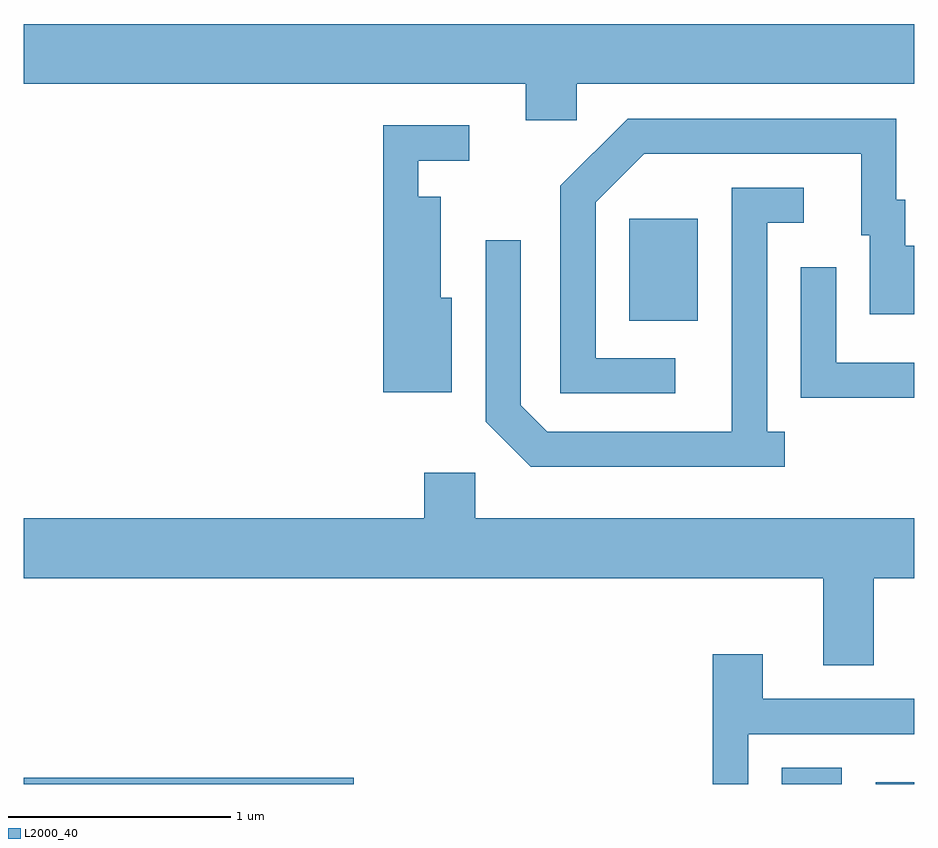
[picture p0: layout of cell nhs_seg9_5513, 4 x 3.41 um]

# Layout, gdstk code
import gdstk
lib = gdstk.Library(unit=1e-6, precision=1e-09)
def R(c, l, rs):  # rectangles x0, y0, x1, y1
    for r in rs: c.add(gdstk.rectangle(r[:2], r[2:], *l))
def P(c, l, *ps):  # polygons
    for p in ps: c.add(gdstk.Polygon(p, *l))
L2000_40 = (2000, 40)

nhs_seg9_5513 = lib.new_cell('nhs_seg9_5513')
R(nhs_seg9_5513, L2000_40, [(347.611,2006.432,349.094,2006.459), (351.016,2006.432,351.284,2006.504), (351.436,2006.432,351.611,2006.439), (350.331,2008.511,350.639,2008.969)])
P(nhs_seg9_5513, L2000_40, [(350.094,2009.576),(351.611,2009.576),(351.611,2009.844),(347.611,2009.844),(347.611,2009.576),(349.866,2009.576),(349.866,2009.411),(350.094,2009.411)],
  [(350.538,2008.344),(350.179,2008.344),(350.179,2009.044),(350.397,2009.261),(351.371,2009.261),(351.371,2008.896),(351.411,2008.896),(351.411,2008.541),(351.611,2008.541),(351.611,2008.849),(351.569,2008.849),(351.569,2009.054),(351.529,2009.054),(351.529,2009.419),(350.324,2009.419),(350.021,2009.117),(350.021,2008.186),(350.538,2008.186)],
  [(349.534,2008.614),(349.484,2008.614),(349.484,2009.069),(349.384,2009.069),(349.384,2009.231),(349.613,2009.231),(349.613,2009.389),(349.226,2009.389),(349.226,2008.191),(349.534,2008.191)],
  [(351.028,2008.014),(350.949,2008.014),(350.949,2008.951),(351.113,2008.951),(351.113,2009.109),(350.791,2009.109),(350.791,2008.014),(349.962,2008.014),(349.844,2008.132),(349.844,2008.873),(349.686,2008.873),(349.686,2008.059),(349.889,2007.856),(351.028,2007.856)],
  [(351.611,2008.324),(351.259,2008.324),(351.259,2008.753),(351.101,2008.753),(351.101,2008.166),(351.611,2008.166)],
  [(351.429,2007.356),(351.611,2007.356),(351.611,2007.624),(349.639,2007.624),(349.639,2007.829),(349.411,2007.829),(349.411,2007.624),(347.611,2007.624),(347.611,2007.356),(351.201,2007.356),(351.201,2006.966),(351.429,2006.966)],
  [(350.864,2006.656),(351.611,2006.656),(351.611,2006.814),(350.929,2006.814),(350.929,2007.014),(350.706,2007.014),(350.706,2006.432),(350.864,2006.432)])

lib.write_gds('nhs_seg9_5513.gds')
